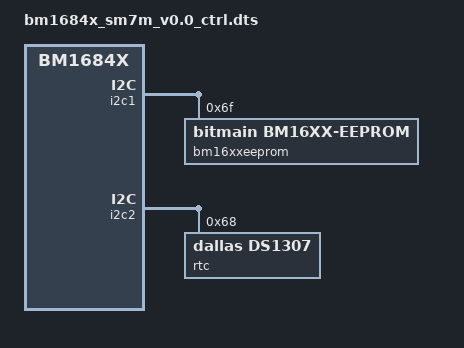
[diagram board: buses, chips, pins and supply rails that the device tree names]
#include "bm1684x.dtsi"
#include "bm1684x_mm_16g.dtsi"
#include "bm1684x_evb.dtsi"

/ {
	/delete-node/ pka@58008000;
	/delete-node/ clp890@50018000;
	/delete-node/ bitmain-ion; // delete ion
	/delete-node/ bmtpu; // delete tpu
	/delete-node/ vpp@50070000; // delete vpp
	/delete-node/ jpu@50030000; // delete jpu
	/delete-node/ vpu@50050000; // delete vpu
	info {
		file-name = "bm1684x_sm7m_v0.0_ctrl.dtb";
	};
};

/delete-node/ &ion_for_npu; // delete npu
/delete-node/ &ion_for_vpp; // delete vpp
/delete-node/ &ion_for_vpu; // delete vpu
/delete-node/ &vpu_reserved; // delete vpu_reserved

&i2c1 {
	/delete-node/ rtc@68;

	bm16xxeeprom@6f {
	    compatible = "bitmain,bm16xx-eeprom";
	    reg = <0x6f>;
	    size = <256>;

	    #address-cells = <1>;
	    #size-cells = <1>;

	    se6_sn: sn@0000 {
		    reg = <0x0000 17>;
	    };

	    se6ctrl_sn: sn@0020 {
		    reg = <0x0020 17>;
	    };
	};
};

&i2c2 {
	pinctrl-names = "default", "dbgi2c";
	pinctrl-0 = <&i2c2_acquire &dbgi2c_release>;

	rtc@68 {
		compatible = "dallas,ds1307";
		reg = <0x68>;
	};
};

&pwm{
	pinctrl-names = "default";
	pinctrl-0 = <&pwm0_acquire>;
};

&pwmfan {
	status = "disabled";
};

&thermal_zones {
	soc {
		trips {
			/delete-node/ soc_pwmfan_trip@0;
			/delete-node/ soc_pwmfan_trip@1;
			/delete-node/ soc_pwmfan_trip@2;
			/delete-node/ soc_pwmfan_trip@3;
			/delete-node/ soc_pwmfan_trip@4;
		};

		cooling-maps {
			/delete-node/ map3;
			/delete-node/ map4;
			/delete-node/ map5;
			/delete-node/ map6;
			/delete-node/ map7;
		};
	};
};
